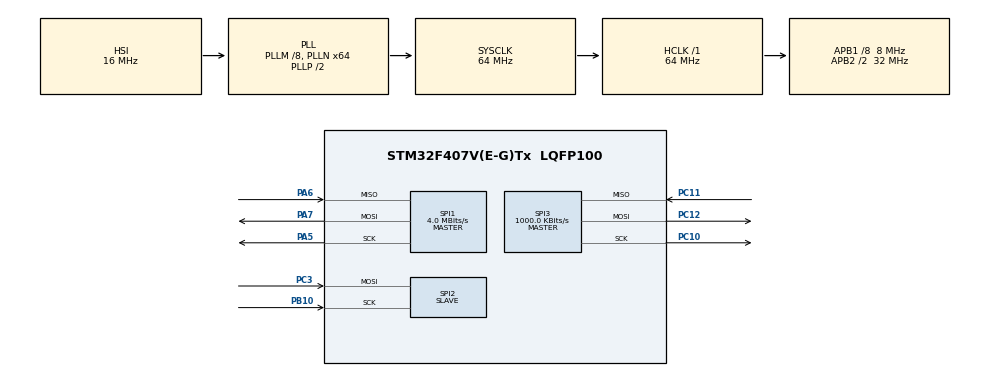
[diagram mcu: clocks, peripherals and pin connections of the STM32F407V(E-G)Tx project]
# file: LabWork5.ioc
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Mcu.Family=STM32F4
Mcu.Name=STM32F407V(E-G)Tx
Mcu.Package=LQFP100
NVIC.PriorityGroup=NVIC_PRIORITYGROUP_0
NVIC.SPI1_IRQn=true\:0\:0\:false\:true\:true\:1\:true\:true\:true
NVIC.SPI2_IRQn=true\:0\:0\:false\:true\:true\:2\:true\:true\:true
NVIC.SPI3_IRQn=true\:0\:0\:false\:true\:true\:3\:true\:true\:true
NVIC.TIM3_IRQn=true\:0\:0\:false\:true\:true\:4\:true\:true\:true
PA13.Mode=Trace_Asynchronous_SW
PA13.Signal=SYS_JTMS-SWDIO
PA14.Mode=Trace_Asynchronous_SW
PA14.Signal=SYS_JTCK-SWCLK
PA5.Mode=Full_Duplex_Master
PA5.Signal=SPI1_SCK
PA6.Mode=Full_Duplex_Master
PA6.Signal=SPI1_MISO
PA7.Mode=Full_Duplex_Master
PA7.Signal=SPI1_MOSI
PB10.Mode=RX_Only_Simplex_Unidirect_Slave
PB10.Signal=SPI2_SCK
PB3.Mode=Trace_Asynchronous_SW
PB3.Signal=SYS_JTDO-SWO
PC10.Mode=Full_Duplex_Master
PC10.Signal=SPI3_SCK
PC11.Mode=Full_Duplex_Master
PC11.Signal=SPI3_MISO
PC12.Mode=Full_Duplex_Master
PC12.Signal=SPI3_MOSI
PC3.Mode=RX_Only_Simplex_Unidirect_Slave
PC3.Signal=SPI2_MOSI
ProjectManager.HeapSize=0x200
ProjectManager.StackSize=0x400
ProjectManager.TargetToolchain=STM32CubeIDE
RCC.48MHZClocksFreq_Value=18285714.285714287
RCC.AHBFreq_Value=64000000
RCC.APB1CLKDivider=RCC_HCLK_DIV8
RCC.APB1Freq_Value=8000000
RCC.APB1TimFreq_Value=16000000
RCC.APB2CLKDivider=RCC_HCLK_DIV2
RCC.APB2Freq_Value=32000000
RCC.APB2TimFreq_Value=64000000
RCC.CortexFreq_Value=64000000
RCC.HCLKFreq_Value=64000000
RCC.HSE_VALUE=8000000
RCC.HSI_VALUE=16000000
RCC.PLLM=8
RCC.PLLN=64
RCC.PLLQ=7
RCC.SYSCLKFreq_VALUE=64000000
RCC.SYSCLKSource=RCC_SYSCLKSOURCE_PLLCLK
RCC.VCOOutputFreq_Value=128000000
SPI1.BaudRatePrescaler=SPI_BAUDRATEPRESCALER_8
SPI1.CalculateBaudRate=4.0 MBits/s
SPI1.Direction=SPI_DIRECTION_2LINES
SPI1.Mode=SPI_MODE_MASTER
SPI1.VirtualType=VM_MASTER
SPI2.Direction=SPI_DIRECTION_2LINES_RXONLY
SPI2.Mode=SPI_MODE_SLAVE
SPI2.VirtualType=VM_SLAVE
SPI3.BaudRatePrescaler=SPI_BAUDRATEPRESCALER_8
SPI3.CalculateBaudRate=1000.0 KBits/s
SPI3.Direction=SPI_DIRECTION_2LINES
SPI3.Mode=SPI_MODE_MASTER
SPI3.VirtualType=VM_MASTER
TIM3.Period=2000
TIM3.Prescaler=8000
VP_TIM3_VS_ClockSourceINT.Mode=Internal
board=STM32F407G-DISC1

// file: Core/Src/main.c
/* USER CODE BEGIN Header */
/**
  ******************************************************************************
  * @file           : main.c
  * @brief          : Main program body
  ******************************************************************************
  * @attention
  *
  * Copyright (c) 2024 STMicroelectronics.
  * All rights reserved.
  *
  * This software is licensed under terms that can be found in the LICENSE file
  * in the root directory of this software component.
  * If no LICENSE file comes with this software, it is provided AS-IS.
  *
  ******************************************************************************
  */
/* USER CODE END Header */
#include "main.h"

SPI_HandleTypeDef hspi1;
SPI_HandleTypeDef hspi2;
SPI_HandleTypeDef hspi3;

TIM_HandleTypeDef htim3;

void SystemClock_Config(void);
static void MX_GPIO_Init(void);
static void MX_SPI1_Init(void);
static void MX_SPI2_Init(void);
static void MX_SPI3_Init(void);
static void MX_TIM3_Init(void);
static void MX_NVIC_Init(void);

/* USER CODE BEGIN 0 */
//#uint8_t txData[4] = {7, 8, 10, 11};
//uint8_t rxData[4];

uint8_t txData[3] = {15, 7, 3};
uint8_t txIndex = 0;
uint8_t rxData;

/* USER CODE END 0 */

int main(void)
{

  /* MCU Configuration--------------------------------------------------------*/

  /* Reset of all peripherals, Initializes the Flash interface and the Systick. */
  HAL_Init();

  /* Configure the system clock */
  SystemClock_Config();

  /* Initialize all configured peripherals */
  MX_GPIO_Init();
  MX_SPI1_Init();
  MX_SPI2_Init();
  MX_SPI3_Init();
  MX_TIM3_Init();

  /* Initialize interrupts */
  MX_NVIC_Init();
  /* USER CODE BEGIN 2 */

  //uint8_t txData[4] = {7, 8, 10, 11};
  //uint8_t rxData[4]={0, 0, 0, 0};

  //HAL_SPI_TransmitReceive(&hspi1, txData, rxData, 4, HAL_MAX_DELAY);

  uint8_t txData[3] = {15, 7, 3};
  uint8_t txIndex = 0;
  uint8_t rxData;
  HAL_SPI_Receive_IT(&hspi2, &rxData, 1);

  /* USER CODE END 2 */

  /* Infinite loop */
  while (1)
  {
  }
}

void SystemClock_Config(void)
{
  RCC_OscInitTypeDef RCC_OscInitStruct = {0};
  RCC_ClkInitTypeDef RCC_ClkInitStruct = {0};

  /** Configure the main internal regulator output voltage
  */
  __HAL_RCC_PWR_CLK_ENABLE();
  __HAL_PWR_VOLTAGESCALING_CONFIG(PWR_REGULATOR_VOLTAGE_SCALE1);

  /** Initializes the RCC Oscillators according to the specified parameters
  * in the RCC_OscInitTypeDef structure.
  */
  RCC_OscInitStruct.OscillatorType = RCC_OSCILLATORTYPE_HSI;
  RCC_OscInitStruct.HSIState = RCC_HSI_ON;
  RCC_OscInitStruct.HSICalibrationValue = RCC_HSICALIBRATION_DEFAULT;
  RCC_OscInitStruct.PLL.PLLState = RCC_PLL_ON;
  RCC_OscInitStruct.PLL.PLLSource = RCC_PLLSOURCE_HSI;
  RCC_OscInitStruct.PLL.PLLM = 8;
  RCC_OscInitStruct.PLL.PLLN = 64;
  RCC_OscInitStruct.PLL.PLLP = RCC_PLLP_DIV2;
  RCC_OscInitStruct.PLL.PLLQ = 7;
  if (HAL_RCC_OscConfig(&RCC_OscInitStruct) != HAL_OK)
  {
    Error_Handler();
  }

  /** Initializes the CPU, AHB and APB buses clocks
  */
  RCC_ClkInitStruct.ClockType = RCC_CLOCKTYPE_HCLK|RCC_CLOCKTYPE_SYSCLK
                              |RCC_CLOCKTYPE_PCLK1|RCC_CLOCKTYPE_PCLK2;
  RCC_ClkInitStruct.SYSCLKSource = RCC_SYSCLKSOURCE_PLLCLK;
  RCC_ClkInitStruct.AHBCLKDivider = RCC_SYSCLK_DIV1;
  RCC_ClkInitStruct.APB1CLKDivider = RCC_HCLK_DIV8;
  RCC_ClkInitStruct.APB2CLKDivider = RCC_HCLK_DIV2;

  if (HAL_RCC_ClockConfig(&RCC_ClkInitStruct, FLASH_LATENCY_2) != HAL_OK)
  {
    Error_Handler();
  }
}

/**
  * @brief NVIC Configuration.
  * @retval None
  */
static void MX_NVIC_Init(void)
{
  /* SPI1_IRQn interrupt configuration */
  HAL_NVIC_SetPriority(SPI1_IRQn, 0, 0);
  HAL_NVIC_EnableIRQ(SPI1_IRQn);
  /* SPI2_IRQn interrupt configuration */
  HAL_NVIC_SetPriority(SPI2_IRQn, 0, 0);
  HAL_NVIC_EnableIRQ(SPI2_IRQn);
  /* SPI3_IRQn interrupt configuration */
  HAL_NVIC_SetPriority(SPI3_IRQn, 0, 0);
  HAL_NVIC_EnableIRQ(SPI3_IRQn);
  /* TIM3_IRQn interrupt configuration */
  HAL_NVIC_SetPriority(TIM3_IRQn, 0, 0);
  HAL_NVIC_EnableIRQ(TIM3_IRQn);
}

static void MX_SPI1_Init(void)
{

  /* SPI1 parameter configuration*/
  hspi1.Instance = SPI1;
  hspi1.Init.Mode = SPI_MODE_MASTER;
  hspi1.Init.Direction = SPI_DIRECTION_2LINES;
  hspi1.Init.DataSize = SPI_DATASIZE_8BIT;
  hspi1.Init.CLKPolarity = SPI_POLARITY_LOW;
  hspi1.Init.CLKPhase = SPI_PHASE_1EDGE;
  hspi1.Init.NSS = SPI_NSS_SOFT;
  hspi1.Init.BaudRatePrescaler = SPI_BAUDRATEPRESCALER_8;
  hspi1.Init.FirstBit = SPI_FIRSTBIT_MSB;
  hspi1.Init.TIMode = SPI_TIMODE_DISABLE;
  hspi1.Init.CRCCalculation = SPI_CRCCALCULATION_DISABLE;
  hspi1.Init.CRCPolynomial = 10;
  if (HAL_SPI_Init(&hspi1) != HAL_OK)
  {
    Error_Handler();
  }

}

static void MX_SPI2_Init(void)
{

  /* SPI2 parameter configuration*/
  hspi2.Instance = SPI2;
  hspi2.Init.Mode = SPI_MODE_SLAVE;
  hspi2.Init.Direction = SPI_DIRECTION_2LINES_RXONLY;
  hspi2.Init.DataSize = SPI_DATASIZE_8BIT;
  hspi2.Init.CLKPolarity = SPI_POLARITY_LOW;
  hspi2.Init.CLKPhase = SPI_PHASE_1EDGE;
  hspi2.Init.NSS = SPI_NSS_SOFT;
  hspi2.Init.FirstBit = SPI_FIRSTBIT_MSB;
  hspi2.Init.TIMode = SPI_TIMODE_DISABLE;
  hspi2.Init.CRCCalculation = SPI_CRCCALCULATION_DISABLE;
  hspi2.Init.CRCPolynomial = 10;
  if (HAL_SPI_Init(&hspi2) != HAL_OK)
  {
    Error_Handler();
  }

}

static void MX_SPI3_Init(void)
{

  /* SPI3 parameter configuration*/
  hspi3.Instance = SPI3;
  hspi3.Init.Mode = SPI_MODE_MASTER;
  hspi3.Init.Direction = SPI_DIRECTION_2LINES;
  hspi3.Init.DataSize = SPI_DATASIZE_8BIT;
  hspi3.Init.CLKPolarity = SPI_POLARITY_LOW;
  hspi3.Init.CLKPhase = SPI_PHASE_1EDGE;
  hspi3.Init.NSS = SPI_NSS_SOFT;
  hspi3.Init.BaudRatePrescaler = SPI_BAUDRATEPRESCALER_8;
  hspi3.Init.FirstBit = SPI_FIRSTBIT_MSB;
  hspi3.Init.TIMode = SPI_TIMODE_DISABLE;
  hspi3.Init.CRCCalculation = SPI_CRCCALCULATION_DISABLE;
  hspi3.Init.CRCPolynomial = 10;
  if (HAL_SPI_Init(&hspi3) != HAL_OK)
  {
    Error_Handler();
  }

}

static void MX_TIM3_Init(void)
{

  TIM_ClockConfigTypeDef sClockSourceConfig = {0};
  TIM_MasterConfigTypeDef sMasterConfig = {0};

  htim3.Instance = TIM3;
  htim3.Init.Prescaler = 8000;
  htim3.Init.CounterMode = TIM_COUNTERMODE_UP;
  htim3.Init.Period = 2000;
  htim3.Init.ClockDivision = TIM_CLOCKDIVISION_DIV1;
  htim3.Init.AutoReloadPreload = TIM_AUTORELOAD_PRELOAD_DISABLE;
  if (HAL_TIM_Base_Init(&htim3) != HAL_OK)
  {
    Error_Handler();
  }
  sClockSourceConfig.ClockSource = TIM_CLOCKSOURCE_INTERNAL;
  if (HAL_TIM_ConfigClockSource(&htim3, &sClockSourceConfig) != HAL_OK)
  {
    Error_Handler();
  }
  sMasterConfig.MasterOutputTrigger = TIM_TRGO_RESET;
  sMasterConfig.MasterSlaveMode = TIM_MASTERSLAVEMODE_DISABLE;
  if (HAL_TIMEx_MasterConfigSynchronization(&htim3, &sMasterConfig) != HAL_OK)
  {
    Error_Handler();
  }

}

static void MX_GPIO_Init(void)
{
/* USER CODE BEGIN MX_GPIO_Init_1 */
	GPIO_InitTypeDef GPIO_InitStruct = {0};

/* USER CODE END MX_GPIO_Init_1 */

  /* GPIO Ports Clock Enable */
  __HAL_RCC_SPI2_CLK_ENABLE();
  __HAL_RCC_SPI3_CLK_ENABLE();
  __HAL_RCC_GPIOD_CLK_ENABLE();
  __HAL_RCC_GPIOC_CLK_ENABLE();
  __HAL_RCC_GPIOA_CLK_ENABLE();
  __HAL_RCC_GPIOB_CLK_ENABLE();

/* USER CODE BEGIN MX_GPIO_Init_2 */
  /*Configure GPIO pins : PD12 PD13 PD14 PD15 */
  GPIO_InitStruct.Pin = GPIO_PIN_12 | GPIO_PIN_13 | GPIO_PIN_14 | GPIO_PIN_15;
  GPIO_InitStruct.Mode = GPIO_MODE_OUTPUT_PP; // Push Pull Mode
  GPIO_InitStruct.Pull = GPIO_NOPULL;
  GPIO_InitStruct.Speed = GPIO_SPEED_FREQ_LOW;
  HAL_GPIO_Init(GPIOD, &GPIO_InitStruct);
/* USER CODE END MX_GPIO_Init_2 */
}

/* USER CODE BEGIN 4 */
void HAL_TIM_PeriodElapsedCallback(TIM_HandleTypeDef *htim)
{
  if (htim->Instance == TIM3) {
    HAL_SPI_Transmit_IT(&hspi3, &txData[txIndex], 1); // Start data transmission over SPI3
    txIndex = (txIndex + 1) % 3; // Update index for the next data to be transmitted
  }
}

void HAL_SPI_RxCpltCallback(SPI_HandleTypeDef *hspi)
{
  if (hspi->Instance == SPI2) {
    // Turn off all LEDs first
	  HAL_GPIO_WritePin(GPIOD, GPIO_PIN_12, GPIO_PIN_RESET);
	  HAL_GPIO_WritePin(GPIOD, GPIO_PIN_13, GPIO_PIN_RESET);
	  HAL_GPIO_WritePin(GPIOD, GPIO_PIN_14, GPIO_PIN_RESET);
	  HAL_GPIO_WritePin(GPIOD, GPIO_PIN_15, GPIO_PIN_RESET);
    // Control LEDs based on the received data (rxData)
    switch(rxData) {
      case 15:
        HAL_GPIO_WritePin(GPIOD, GPIO_PIN_12, GPIO_PIN_SET); // Green
        break;
      case 7:
        HAL_GPIO_WritePin(GPIOD, GPIO_PIN_13, GPIO_PIN_SET); // Orange
        break;
      case 3:
        HAL_GPIO_WritePin(GPIOD, GPIO_PIN_14, GPIO_PIN_SET); // Red
        break;
      default:
        HAL_GPIO_WritePin(GPIOD, GPIO_PIN_15, GPIO_PIN_SET); // Blue
        break;
    }

    // Prepare for the next data reception
    HAL_SPI_Receive_IT(hspi, &rxData, 1);
  }
}

/* USER CODE END 4 */

void Error_Handler(void)
{
  __disable_irq();
  while (1)
  {
  }
}
